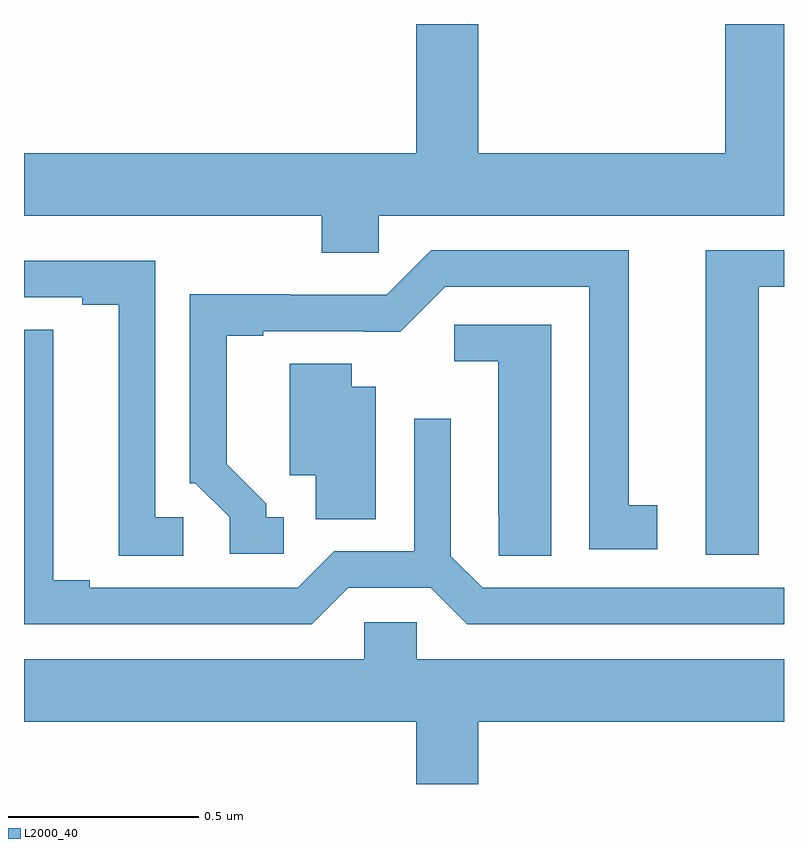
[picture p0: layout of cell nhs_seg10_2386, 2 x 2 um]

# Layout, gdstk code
import gdstk
lib = gdstk.Library(unit=1e-6, precision=1e-09)
def P(c, l, *ps):  # polygons
    for p in ps: c.add(gdstk.Polygon(p, *l))
L2000_40 = (2000, 40)

nhs_seg10_2386 = lib.new_cell('nhs_seg10_2386')
P(nhs_seg10_2386, L2000_40, [(142,1287.5),(141.845,1287.5),(141.845,1287.16),(141.196,1287.16),(141.196,1287.5),(141.032,1287.5),(141.032,1287.16),(140,1287.16),(140,1286.996),(140.783,1286.996),(140.783,1286.898),(140.934,1286.898),(140.934,1286.996),(142,1286.996)],
  [(141.934,1286.808),(142,1286.808),(142,1286.904),(141.794,1286.904),(141.794,1286.103),(141.934,1286.103)],
  [(140.683,1286.202),(140.638,1286.202),(140.638,1286.237),(140.533,1286.342),(140.533,1286.679),(140.629,1286.679),(140.629,1286.691),(140.894,1286.691),(140.894,1286.69),(140.99,1286.69),(141.108,1286.808),(141.488,1286.808),(141.488,1286.118),(141.667,1286.118),(141.667,1286.234),(141.592,1286.234),(141.592,1286.904),(141.072,1286.904),(140.955,1286.787),(140.699,1286.787),(140.699,1286.789),(140.436,1286.789),(140.436,1286.292),(140.451,1286.292),(140.541,1286.202),(140.541,1286.106),(140.683,1286.106)],
  [(140.419,1286.202),(140.346,1286.202),(140.346,1286.877),(140,1286.877),(140,1286.781),(140.153,1286.781),(140.153,1286.761),(140.249,1286.761),(140.249,1286.101),(140.419,1286.101)],
  [(141.388,1286.709),(141.132,1286.709),(141.132,1286.612),(141.248,1286.612),(141.248,1286.209),(141.249,1286.209),(141.249,1286.101),(141.388,1286.101)],
  [(140.853,1286.016),(141.071,1286.016),(141.167,1285.92),(142,1285.92),(142,1286.016),(141.207,1286.016),(141.123,1286.1),(141.123,1286.461),(141.027,1286.461),(141.027,1286.112),(140.817,1286.112),(140.721,1286.016),(140.173,1286.016),(140.173,1286.036),(140.077,1286.036),(140.077,1286.696),(140,1286.696),(140,1285.92),(140.757,1285.92)],
  [(140.926,1286.545),(140.863,1286.545),(140.863,1286.606),(140.699,1286.606),(140.699,1286.312),(140.768,1286.312),(140.768,1286.197),(140.926,1286.197)],
  [(141.196,1285.664),(142,1285.664),(142,1285.828),(141.033,1285.828),(141.033,1285.926),(140.895,1285.926),(140.895,1285.828),(140,1285.828),(140,1285.664),(141.032,1285.664),(141.032,1285.5),(141.196,1285.5)])

lib.write_gds('nhs_seg10_2386.gds')
